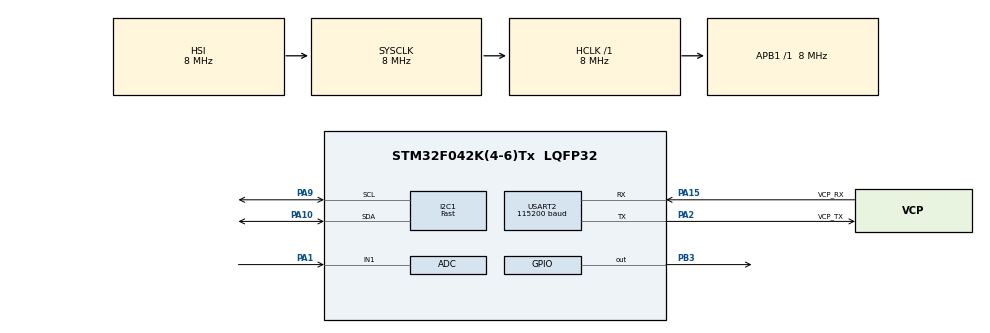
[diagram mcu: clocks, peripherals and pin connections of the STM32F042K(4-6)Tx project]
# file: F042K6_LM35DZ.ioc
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ADC.ClockPrescaler=ADC_CLOCK_ASYNC_DIV1
ADC.ContinuousConvMode=ENABLE
ADC.DMAContinuousRequests=ENABLE
ADC.SamplingTime=ADC_SAMPLETIME_239CYCLES_5
Dma.ADC.0.Direction=DMA_PERIPH_TO_MEMORY
Dma.ADC.0.Instance=DMA1_Channel1
Dma.ADC.0.MemDataAlignment=DMA_MDATAALIGN_HALFWORD
Dma.ADC.0.MemInc=DMA_MINC_ENABLE
Dma.ADC.0.Mode=DMA_CIRCULAR
Dma.ADC.0.PeriphDataAlignment=DMA_PDATAALIGN_HALFWORD
Dma.ADC.0.PeriphInc=DMA_PINC_DISABLE
Dma.ADC.0.Priority=DMA_PRIORITY_LOW
Dma.Request0=ADC
I2C1.I2C_Speed_Mode=I2C_Fast
I2C1.Timing=0x0000020B
Mcu.Family=STM32F0
Mcu.Name=STM32F042K(4-6)Tx
Mcu.Package=LQFP32
NVIC.DMA1_Channel1_IRQn=true\:0\:0\:false\:false\:true\:false\:true\:true
PA1.Mode=IN1
PA1.Signal=ADC_IN1
PA10.Mode=I2C
PA10.Signal=I2C1_SDA
PA13.GPIO_Label=SWDIO
PA13.Mode=Serial_Wire
PA13.Signal=SYS_SWDIO
PA14.GPIO_Label=SWCLK
PA14.Mode=Serial_Wire
PA14.Signal=SYS_SWCLK
PA15.GPIO_Label=VCP_RX
PA15.Mode=Asynchronous
PA15.Signal=USART2_RX
PA2.GPIO_Label=VCP_TX
PA2.Mode=Asynchronous
PA2.Signal=USART2_TX
PA9.Mode=I2C
PA9.Signal=I2C1_SCL
PB3.Signal=GPIO_Output
PF0-OSC_IN.GPIO_Label=MCO
PF0-OSC_IN.Mode=HSE-External-Clock-Source
PF0-OSC_IN.Signal=RCC_OSC_IN
ProjectManager.HeapSize=0x200
ProjectManager.StackSize=0x400
ProjectManager.TargetToolchain=STM32CubeIDE
RCC.AHBFreq_Value=8000000
RCC.APB1Freq_Value=8000000
RCC.APB1TimFreq_Value=8000000
RCC.HCLKFreq_Value=8000000
RCC.I2c1ClockSelection=RCC_I2C1CLKSOURCE_SYSCLK
RCC.SYSCLKFreq_VALUE=8000000
USART2.BaudRate=115200
USART2.VirtualMode-Asynchronous=VM_ASYNC
board=NUCLEO-F042K6

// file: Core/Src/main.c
/* USER CODE BEGIN Header */
/**
  ******************************************************************************
  * @file           : main.c
  * @brief          : Main program body
  ******************************************************************************
  * @attention
  *
  * Copyright (c) 2022 STMicroelectronics.
  * All rights reserved.
  *
  * This software is licensed under terms that can be found in the LICENSE file
  * in the root directory of this software component.
  * If no LICENSE file comes with this software, it is provided AS-IS.
  *
  ******************************************************************************
  */
/* USER CODE END Header */
#include "main.h"

/* USER CODE BEGIN Includes */
#include "ssd1306.h"
#include "lcd_i2c.h"
#include "print_utils.h"

/* USER CODE END Includes */

ADC_HandleTypeDef hadc;
DMA_HandleTypeDef hdma_adc;

I2C_HandleTypeDef hi2c1;

UART_HandleTypeDef huart2;

void SystemClock_Config(void);
static void MX_GPIO_Init(void);
static void MX_DMA_Init(void);
static void MX_USART2_UART_Init(void);
static void MX_ADC_Init(void);
static void MX_I2C1_Init(void);

/* USER CODE BEGIN 0 */
#define ADC_BUF_LEN 16
/* USER CODE END 0 */

int main(void)
{

  /* MCU Configuration--------------------------------------------------------*/

  /* Reset of all peripherals, Initializes the Flash interface and the Systick. */
  HAL_Init();

  /* Configure the system clock */
  SystemClock_Config();

  /* Initialize all configured peripherals */
  MX_GPIO_Init();
  MX_DMA_Init();
  MX_USART2_UART_Init();
  MX_ADC_Init();
  MX_I2C1_Init();
  /* USER CODE BEGIN 2 */
  uint16_t adc_buf[ADC_BUF_LEN];
  uint32_t adc_avg_val;
  uint32_t mv;
  char str_buf[16];
  ssd1306_Init();
  lcd_init();
  HAL_ADC_Start_DMA(&hadc, (uint32_t*)adc_buf, ADC_BUF_LEN);
  /* USER CODE END 2 */

  /* Infinite loop */
  /* USER CODE BEGIN WHILE */
  uint8_t i;
  while (1)
  {
    /* USER CODE END WHILE */

    /* USER CODE BEGIN 3 */
	  adc_avg_val = 0;
	  for (i=0; i<ADC_BUF_LEN; i++)
		  adc_avg_val += adc_buf[i];
	  adc_avg_val >>= 4;
	  uint32_t tot_t = HAL_GetTick()/1000;
	  time_hms_t curr_time;
	  curr_time.s = tot_t%60;
	  tot_t /= 60;
	  curr_time.m = tot_t%60;
	  curr_time.h = tot_t/60;
	  print_time(str_buf, &curr_time);
	  mv = (adc_avg_val * 3300) / 4095;
	  ssd1306_Fill(Black);
	  ssd1306_SetCursor(0, 0);
	  ssd1306_WriteString(str_buf, Font_11x18, White);
	  lcd_put_cur(0, 0);
	  lcd_send_string_clear_rest_line(str_buf);
	  size_t buf_idx = print_fixed_decimal(str_buf, mv, 1);
	  str_buf[buf_idx++] = ' ';
	  str_buf[buf_idx++] = 'C';
	  str_buf[buf_idx] = 0;
	  ssd1306_SetCursor(0, 32);
	  ssd1306_WriteString(str_buf, Font_16x26, White);
	  ssd1306_UpdateScreen();
	  lcd_put_cur(1, 0);
	  lcd_send_string_clear_rest_line(str_buf);

	  HAL_UART_Transmit(&huart2, (uint8_t*)adc_buf, sizeof(adc_buf), HAL_MAX_DELAY);
  }
  /* USER CODE END 3 */
}

void SystemClock_Config(void)
{
  RCC_OscInitTypeDef RCC_OscInitStruct = {0};
  RCC_ClkInitTypeDef RCC_ClkInitStruct = {0};
  RCC_PeriphCLKInitTypeDef PeriphClkInit = {0};

  /** Initializes the RCC Oscillators according to the specified parameters
  * in the RCC_OscInitTypeDef structure.
  */
  RCC_OscInitStruct.OscillatorType = RCC_OSCILLATORTYPE_HSI|RCC_OSCILLATORTYPE_HSI14;
  RCC_OscInitStruct.HSIState = RCC_HSI_ON;
  RCC_OscInitStruct.HSI14State = RCC_HSI14_ON;
  RCC_OscInitStruct.HSICalibrationValue = RCC_HSICALIBRATION_DEFAULT;
  RCC_OscInitStruct.HSI14CalibrationValue = 16;
  RCC_OscInitStruct.PLL.PLLState = RCC_PLL_NONE;
  if (HAL_RCC_OscConfig(&RCC_OscInitStruct) != HAL_OK)
  {
    Error_Handler();
  }

  /** Initializes the CPU, AHB and APB buses clocks
  */
  RCC_ClkInitStruct.ClockType = RCC_CLOCKTYPE_HCLK|RCC_CLOCKTYPE_SYSCLK
                              |RCC_CLOCKTYPE_PCLK1;
  RCC_ClkInitStruct.SYSCLKSource = RCC_SYSCLKSOURCE_HSI;
  RCC_ClkInitStruct.AHBCLKDivider = RCC_SYSCLK_DIV1;
  RCC_ClkInitStruct.APB1CLKDivider = RCC_HCLK_DIV1;

  if (HAL_RCC_ClockConfig(&RCC_ClkInitStruct, FLASH_LATENCY_0) != HAL_OK)
  {
    Error_Handler();
  }
  PeriphClkInit.PeriphClockSelection = RCC_PERIPHCLK_I2C1;
  PeriphClkInit.I2c1ClockSelection = RCC_I2C1CLKSOURCE_SYSCLK;
  if (HAL_RCCEx_PeriphCLKConfig(&PeriphClkInit) != HAL_OK)
  {
    Error_Handler();
  }
}

static void MX_ADC_Init(void)
{

  ADC_ChannelConfTypeDef sConfig = {0};

  /** Configure the global features of the ADC (Clock, Resolution, Data Alignment and number of conversion)
  */
  hadc.Instance = ADC1;
  hadc.Init.ClockPrescaler = ADC_CLOCK_ASYNC_DIV1;
  hadc.Init.Resolution = ADC_RESOLUTION_12B;
  hadc.Init.DataAlign = ADC_DATAALIGN_RIGHT;
  hadc.Init.ScanConvMode = ADC_SCAN_DIRECTION_FORWARD;
  hadc.Init.EOCSelection = ADC_EOC_SINGLE_CONV;
  hadc.Init.LowPowerAutoWait = DISABLE;
  hadc.Init.LowPowerAutoPowerOff = DISABLE;
  hadc.Init.ContinuousConvMode = ENABLE;
  hadc.Init.DiscontinuousConvMode = DISABLE;
  hadc.Init.ExternalTrigConv = ADC_SOFTWARE_START;
  hadc.Init.ExternalTrigConvEdge = ADC_EXTERNALTRIGCONVEDGE_NONE;
  hadc.Init.DMAContinuousRequests = ENABLE;
  hadc.Init.Overrun = ADC_OVR_DATA_PRESERVED;
  if (HAL_ADC_Init(&hadc) != HAL_OK)
  {
    Error_Handler();
  }

  /** Configure for the selected ADC regular channel to be converted.
  */
  sConfig.Channel = ADC_CHANNEL_1;
  sConfig.Rank = ADC_RANK_CHANNEL_NUMBER;
  sConfig.SamplingTime = ADC_SAMPLETIME_239CYCLES_5;
  if (HAL_ADC_ConfigChannel(&hadc, &sConfig) != HAL_OK)
  {
    Error_Handler();
  }

}

static void MX_I2C1_Init(void)
{

  hi2c1.Instance = I2C1;
  hi2c1.Init.Timing = 0x0000020B;
  hi2c1.Init.OwnAddress1 = 0;
  hi2c1.Init.AddressingMode = I2C_ADDRESSINGMODE_7BIT;
  hi2c1.Init.DualAddressMode = I2C_DUALADDRESS_DISABLE;
  hi2c1.Init.OwnAddress2 = 0;
  hi2c1.Init.OwnAddress2Masks = I2C_OA2_NOMASK;
  hi2c1.Init.GeneralCallMode = I2C_GENERALCALL_DISABLE;
  hi2c1.Init.NoStretchMode = I2C_NOSTRETCH_DISABLE;
  if (HAL_I2C_Init(&hi2c1) != HAL_OK)
  {
    Error_Handler();
  }

  /** Configure Analogue filter
  */
  if (HAL_I2CEx_ConfigAnalogFilter(&hi2c1, I2C_ANALOGFILTER_ENABLE) != HAL_OK)
  {
    Error_Handler();
  }

  /** Configure Digital filter
  */
  if (HAL_I2CEx_ConfigDigitalFilter(&hi2c1, 0) != HAL_OK)
  {
    Error_Handler();
  }

}

static void MX_USART2_UART_Init(void)
{

  huart2.Instance = USART2;
  huart2.Init.BaudRate = 115200;
  huart2.Init.WordLength = UART_WORDLENGTH_8B;
  huart2.Init.StopBits = UART_STOPBITS_1;
  huart2.Init.Parity = UART_PARITY_NONE;
  huart2.Init.Mode = UART_MODE_TX_RX;
  huart2.Init.HwFlowCtl = UART_HWCONTROL_NONE;
  huart2.Init.OverSampling = UART_OVERSAMPLING_16;
  huart2.Init.OneBitSampling = UART_ONE_BIT_SAMPLE_DISABLE;
  huart2.AdvancedInit.AdvFeatureInit = UART_ADVFEATURE_NO_INIT;
  if (HAL_UART_Init(&huart2) != HAL_OK)
  {
    Error_Handler();
  }

}

static void MX_DMA_Init(void)
{

  /* DMA controller clock enable */
  __HAL_RCC_DMA1_CLK_ENABLE();

  /* DMA interrupt init */
  /* DMA1_Channel1_IRQn interrupt configuration */
  HAL_NVIC_SetPriority(DMA1_Channel1_IRQn, 0, 0);
  HAL_NVIC_EnableIRQ(DMA1_Channel1_IRQn);

}

static void MX_GPIO_Init(void)
{
  GPIO_InitTypeDef GPIO_InitStruct = {0};

  /* GPIO Ports Clock Enable */
  __HAL_RCC_GPIOF_CLK_ENABLE();
  __HAL_RCC_GPIOA_CLK_ENABLE();
  __HAL_RCC_GPIOB_CLK_ENABLE();

  /*Configure GPIO pin Output Level */
  HAL_GPIO_WritePin(GPIOB, GPIO_PIN_3, GPIO_PIN_RESET);

  /*Configure GPIO pin : PB3 */
  GPIO_InitStruct.Pin = GPIO_PIN_3;
  GPIO_InitStruct.Mode = GPIO_MODE_OUTPUT_PP;
  GPIO_InitStruct.Pull = GPIO_NOPULL;
  GPIO_InitStruct.Speed = GPIO_SPEED_FREQ_LOW;
  HAL_GPIO_Init(GPIOB, &GPIO_InitStruct);

}

void Error_Handler(void)
{
  __disable_irq();
  while (1)
  {
  }
}
